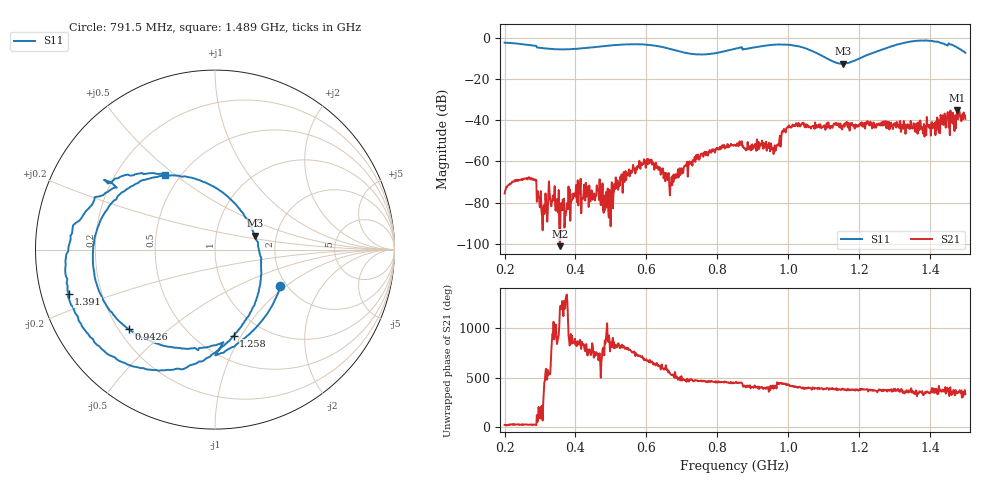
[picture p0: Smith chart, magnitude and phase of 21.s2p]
! NanoVNA-App
! Date: 2024-06-25 16:53:38
! Start: 200MHz Stop: 1.5GHz Points: 801
! S-Parameter data: F S11 S21 S12 S22
# Hz S RI R 50
!  Frequency  S11_Real  S11_Imag  S21_Real  S21_Imag  S12_Real  S12_Imag  S22_Real  S22_Imag
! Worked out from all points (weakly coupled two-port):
!   801 points, 200 MHz to 1.5 GHz, reference 50 ohm
!   highest |S21| = -34.98 dB at 1.477 GHz (marker M1); lowest = -101.1 dB at 356 MHz (marker M2)
!   lowest |S11| = -12.6 dB at 1.155 GHz (marker M3), VSWR 1.61, Z = 77.2 + j12.6 ohm
!   |S11| at or under -10 dB: 1.109 GHz to 1.202 GHz (92.49 MHz wide, 8 % of centre)
!   S12 and S22 are empty: the file has one direction only
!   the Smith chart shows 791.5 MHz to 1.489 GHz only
!   S11 on the Smith chart (normalised r, x): 791.5 MHz: 1.85, -0.92; 942.6 MHz: 0.24, -0.37; 1.258 GHz: 0.73, -0.93; 1.391 GHz: 0.08, -0.15; 1.489 GHz: 0.41, +0.46
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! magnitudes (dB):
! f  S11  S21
! 200 MHz  -2.4  -75.5
! 274.8 MHz  -3.7  -68.0
! 305.6 MHz  -5.0  -86.4
! 356 MHz  -5.6  -101.1
! 417.8 MHz  -5.1  -78.5
! 494.1 MHz  -3.8  -87.2
! 590 MHz  -3.3  -61.0
! 633.9 MHz  -4.1  -64.0
! 671.2 MHz  -5.6  -67.5
! 791.5 MHz  -7.6  -54.2
! 850 MHz  -5.4  -52.0
! 942.6 MHz  -3.7  -53.4
! 965.4 MHz  -3.3  -54.4
! 1.001 GHz  -3.4  -43.4
! 1.068 GHz  -6.4  -42.9
! 1.155 GHz  -12.6  -42.8
! 1.258 GHz  -6.2  -42.1
! 1.284 GHz  -4.6  -40.7
! 1.391 GHz  -1.4  -38.4
! 1.477 GHz  -4.7  -35.0
! 1.489 GHz  -6.0  -40.5
! 1.5 GHz  -7.3  -39.3
